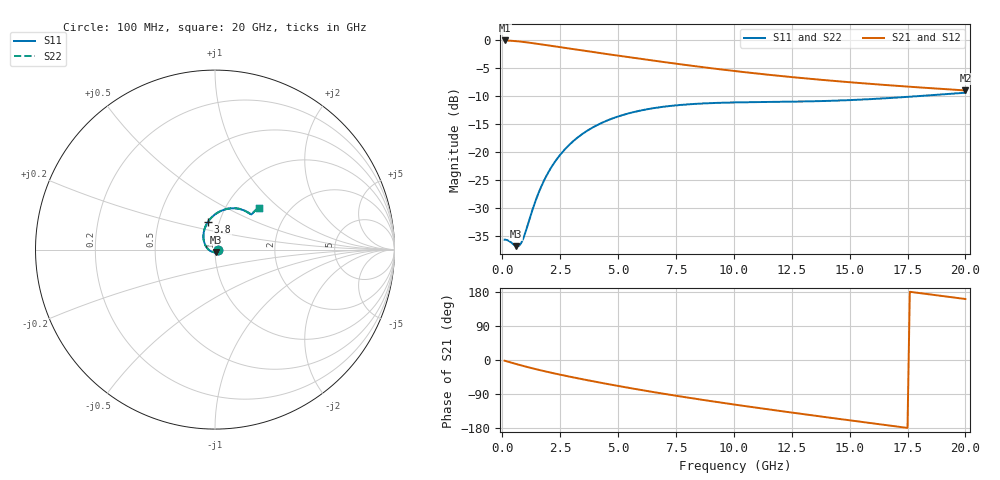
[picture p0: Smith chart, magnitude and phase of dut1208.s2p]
! Touchstone file exported from HFSS 2024.1.0
!  File:  C:/UserFiles/LocalFiles/RDL_TSV_Batchsim/temp_RDL_TSV_1208_1780258993.aedt
!  Generated:  04:34:20 AM Jun  1, 2026
!  Design:  RDL_TSV
!  Project:  temp_RDL_TSV_1208_1780258993
!  Setup:  Setup1
!  Solution:  Sweep
! Variables:
!  dtsv = 14.17um
!  hbump = 3um
!  htsv = 76.5um
!  ldown = 147.99um
!  lrdl = 527.76um
!  p = 40
!  p1 = 43.34um
!  rhole = 10um
!  subl = 2555.01um
!  t = 450um
!  tdown = 3.14um
!  trdl = 3.41um
!  viad = 10um
!  wdown = 18.44um
!  wrdl = 16.18um
!  xbump = 18um
# GHz S MA R 50.000000
! Terminal data exported
! Port[1] = TM1_1_T1
! Port[2] = TM1_4_T1
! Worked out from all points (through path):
!   200 points, 100 MHz to 20 GHz, reference 50 ohm
!   highest |S21| = -0.15 dB at 100 MHz (marker M1); lowest = -9.1 dB at 20 GHz (marker M2)
!   group delay of S21, straight-line fit = 26.2 ps
!   lowest |S11| = -36.9 dB at 600 MHz (marker M3), VSWR 1.03, Z = 50.5 - j1.35 ohm
!   |S11| at or under -10 dB: start of sweep to 18.27 GHz
!   |S22| runs from -36.9 to -9.4 dB; largest |S21 - S12| = 8.8e-15
!   S11 on the Smith chart (normalised r, x): 100 MHz: 1.03, -0.00; 3.8 GHz: 0.88, +0.28; 20 GHz: 1.42, +0.74
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0.1  0.0164 -8.2  0.983 -1.8  0.983 -1.8  0.0164 -8.2
! Gamma 0 0 0 0
! Port Impedance 50 0 50 0
0.3  0.01591 -27.6  0.979 -5.4  0.979 -5.4  0.01591 -27.6
0.6  0.01433 -69.1  0.9686 -10.6  0.9686 -10.6  0.01432 -69.1
0.7  0.01434 -86.6  0.9642 -12.3  0.9642 -12.3  0.01434 -86.6
0.8  0.01506 -104.7  0.9594 -14.0  0.9594 -14.0  0.01507 -104.8
0.9  0.01664 -122.0  0.9542 -15.6  0.9542 -15.6  0.01666 -122.1
1.5  0.03946 175.2  0.9184 -24.9  0.9184 -24.9  0.03954 175.2
1.8  0.05504 159.0  0.8992 -29.3  0.8992 -29.3  0.05517 159.0
2.1  0.07152 146.6  0.88 -33.4  0.88 -33.4  0.07169 146.6
2.7  0.1047 127.9  0.843 -41.3  0.843 -41.3  0.105 127.9
3.5  0.1458 109.6  0.7971 -51.2  0.7971 -51.2  0.1462 109.7
3.8  0.1597 104.0  0.7808 -54.8  0.7808 -54.8  0.1601 104.1
4.4  0.1847 94.3  0.7495 -61.7  0.7495 -61.7  0.1852 94.3
5.1  0.2091 84.7  0.7147 -69.6  0.7147 -69.6  0.2097 84.8
6.8  0.249 67.5  0.6381 -87.4  0.6381 -87.4  0.2498 67.6
8.4  0.2674 56.8  0.5766 -102.9  0.5766 -102.9  0.2683 56.8
10.1  0.2751 49.6  0.5225 -118.2  0.5225 -118.2  0.276 49.7
11.7  0.2779 45.9  0.4809 -132.0  0.4809 -132.0  0.2788 45.9
13.4  0.2814 44.2  0.4447 -146.1  0.4447 -146.1  0.2824 44.3
15  0.2884 43.9  0.4166 -159.2  0.4166 -159.2  0.2894 44.0
16.7  0.3008 44.1  0.3913 -172.8  0.3913 -172.8  0.3019 44.2
20  0.3357 43.3  0.3519 161.0  0.3519 161.0  0.3371 43.5
